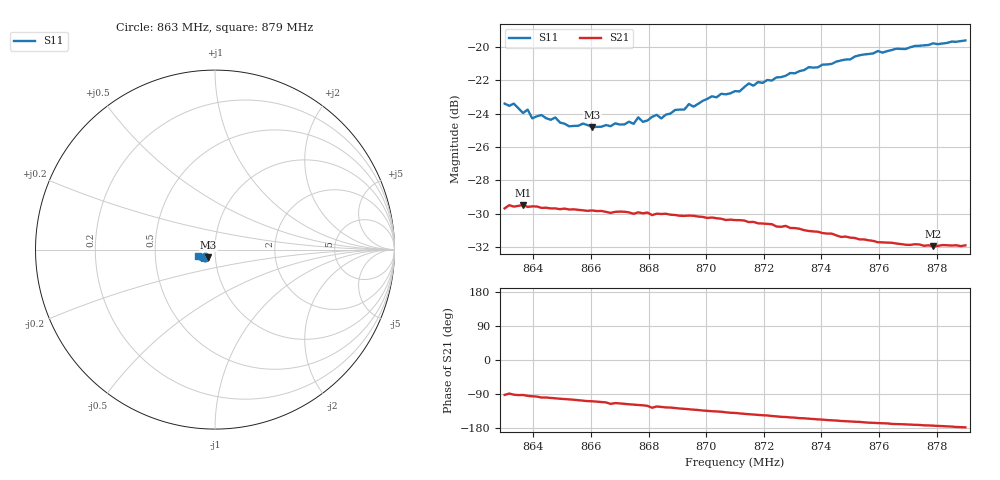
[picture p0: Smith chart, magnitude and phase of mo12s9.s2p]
# HZ S RI R 50
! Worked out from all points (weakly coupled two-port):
!   101 points, 863 MHz to 879 MHz, reference 50 ohm
!   highest |S21| = -29.48 dB at 863.64 MHz (marker M1); lowest = -31.9 dB at 877.88 MHz (marker M2)
!   lowest |S11| = -24.8 dB at 866.04 MHz (marker M3), VSWR 1.12, Z = 46.2 - j4.03 ohm
!   |S11| at or under -10 dB: start of sweep to end of sweep
!   S12 and S22 are empty: the file has one direction only
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8.63e8  -0.0531 -0.0419  -0.00125 -0.0328  0 0  0 0
8.6332e8  -0.0528 -0.0422  -0.00088 -0.0332  0 0  0 0
8.6364e8  -0.048 -0.0414  -0.00133 -0.0336  0 0  0 0
8.638e8  -0.0503 -0.0409  -0.00272 -0.0331  0 0  0 0
8.6396e8  -0.046 -0.0402  -0.00331 -0.0331  0 0  0 0
8.6476e8  -0.0447 -0.0422  -0.00632 -0.0322  0 0  0 0
8.6524e8  -0.0409 -0.0409  -0.00785 -0.0316  0 0  0 0
8.6572e8  -0.0397 -0.0435  -0.00963 -0.0309  0 0  0 0
8.6604e8  -0.0377 -0.0434  -0.0105 -0.0306  0 0  0 0
8.6748e8  -0.034 -0.048  -0.0147 -0.028  0 0  0 0
8.6764e8  -0.0366 -0.0495  -0.0154 -0.028  0 0  0 0
8.678e8  -0.035 -0.0483  -0.0157 -0.0276  0 0  0 0
8.6828e8  -0.0363 -0.051  -0.0171 -0.0266  0 0  0 0
8.6844e8  -0.0347 -0.0502  -0.0176 -0.0262  0 0  0 0
8.694e8  -0.0376 -0.0559  -0.0201 -0.024  0 0  0 0
8.6956e8  -0.0368 -0.055  -0.0205 -0.0235  0 0  0 0
8.71e8  -0.0422 -0.0604  -0.0231 -0.0196  0 0  0 0
8.7148e8  -0.046 -0.0626  -0.0239 -0.018  0 0  0 0
8.7372e8  -0.0582 -0.0642  -0.0255 -0.0115  0 0  0 0
8.7644e8  -0.0799 -0.0563  -0.0254 -0.00512  0 0  0 0
8.7788e8  -0.0912 -0.0467  -0.0251 -0.00297  0 0  0 0
8.79e8  -0.0973 -0.038  -0.0254 -0.000984  0 0  0 0
